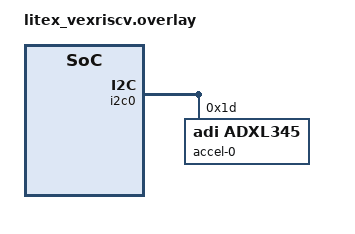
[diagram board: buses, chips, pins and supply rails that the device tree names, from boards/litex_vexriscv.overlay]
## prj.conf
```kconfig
# Copyright 2020 The TensorFlow Authors. All Rights Reserved.
#
# Licensed under the Apache License, Version 2.0 (the "License");
# you may not use this file except in compliance with the License.
# You may obtain a copy of the License at
#
#     http://www.apache.org/licenses/LICENSE-2.0
#
# Unless required by applicable law or agreed to in writing, software
# distributed under the License is distributed on an "AS IS" BASIS,
# WITHOUT WARRANTIES OR CONDITIONS OF ANY KIND, either express or implied.
# See the License for the specific language governing permissions and
# limitations under the License.
# ==============================================================================
CONFIG_CPLUSPLUS=y
CONFIG_NEWLIB_LIBC=y
CONFIG_SENSOR=y
CONFIG_ADXL345=y
CONFIG_PWM=n
CONFIG_PWM_LITEX=n
CONFIG_NETWORKING=n
CONFIG_MAIN_STACK_SIZE=4096
```

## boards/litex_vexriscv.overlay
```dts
/* Copyright 2019 The TensorFlow Authors. All Rights Reserved.

Licensed under the Apache License, Version 2.0 (the "License");
you may not use this file except in compliance with the License.
You may obtain a copy of the License at

    http://www.apache.org/licenses/LICENSE-2.0

Unless required by applicable law or agreed to in writing, software
distributed under the License is distributed on an "AS IS" BASIS,
WITHOUT WARRANTIES OR CONDITIONS OF ANY KIND, either express or implied.
See the License for the specific language governing permissions and
limitations under the License.
==============================================================================*/

&i2c0 {
	label = "I2C0";
	reg = <0xe0003000 0x4 0xe0003004 0x4>;

	adxl@1d {
		compatible = "adi,adxl345";
		label = "accel-0";
		reg = <0x1d>;
	};

};

&pwm0 {
	status = "disabled";
};

&eth0 {
	status = "disabled";
};

&prbs0 {
	status = "disabled";
};
```

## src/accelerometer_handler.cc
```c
/* Copyright 2019 The TensorFlow Authors. All Rights Reserved.

Licensed under the Apache License, Version 2.0 (the "License");
you may not use this file except in compliance with the License.
You may obtain a copy of the License at

    http://www.apache.org/licenses/LICENSE-2.0

Unless required by applicable law or agreed to in writing, software
distributed under the License is distributed on an "AS IS" BASIS,
WITHOUT WARRANTIES OR CONDITIONS OF ANY KIND, either express or implied.
See the License for the specific language governing permissions and
limitations under the License.
==============================================================================*/

#include "tensorflow/lite/micro/examples/magic_wand/accelerometer_handler.h"

#include <device.h>
#include <drivers/sensor.h>
#include <stdio.h>
#include <string.h>
#include <zephyr.h>

#define BUFLEN 300
int begin_index = 0;
struct device* sensor = NULL;
int current_index = 0;

float bufx[BUFLEN] = {0.0f};
float bufy[BUFLEN] = {0.0f};
float bufz[BUFLEN] = {0.0f};

bool initial = true;

TfLiteStatus SetupAccelerometer(tflite::ErrorReporter* error_reporter) {
  sensor = device_get_binding(DT_INST_0_ADI_ADXL345_LABEL);
  if (sensor == NULL) {
    TF_LITE_REPORT_ERROR(error_reporter,
                         "Failed to get accelerometer, label: %s\n",
                         DT_INST_0_ADI_ADXL345_LABEL);
  } else {
    TF_LITE_REPORT_ERROR(error_reporter, "Got accelerometer, label: %s\n",
                         DT_INST_0_ADI_ADXL345_LABEL);
  }
  return kTfLiteOk;
}

bool ReadAccelerometer(tflite::ErrorReporter* error_reporter, float* input,
                       int length) {
  int rc;
  struct sensor_value accel[3];
  int samples_count;

  rc = sensor_sample_fetch(sensor);
  if (rc < 0) {
    TF_LITE_REPORT_ERROR(error_reporter, "Fetch failed\n");
    return false;
  }
  // skip if there is no data
  if (!rc) {
    return false;
  }

  samples_count = rc;
  for (int i = 0; i < samples_count; i++) {
    rc = sensor_channel_get(sensor, SENSOR_CHAN_ACCEL_XYZ, accel);
    if (rc < 0) {
      TF_LITE_REPORT_ERROR(error_reporter, "ERROR: Update failed: %d\n", rc);
      return false;
    }
    bufx[begin_index] = (float)sensor_value_to_double(&accel[0]);
    bufy[begin_index] = (float)sensor_value_to_double(&accel[1]);
    bufz[begin_index] = (float)sensor_value_to_double(&accel[2]);
    begin_index++;
    if (begin_index >= BUFLEN) begin_index = 0;
  }

  if (initial && begin_index >= 100) {
    initial = false;
  }

  if (initial) {
    return false;
  }

  int sample = 0;
  for (int i = 0; i < (length - 3); i += 3) {
    int ring_index = begin_index + sample - length / 3;
    if (ring_index < 0) {
      ring_index += BUFLEN;
    }
    input[i] = bufx[ring_index];
    input[i + 1] = bufy[ring_index];
    input[i + 2] = bufz[ring_index];
    sample++;
  }
  return true;
}
```

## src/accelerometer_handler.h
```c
/* Copyright 2019 The TensorFlow Authors. All Rights Reserved.

Licensed under the Apache License, Version 2.0 (the "License");
you may not use this file except in compliance with the License.
You may obtain a copy of the License at

    http://www.apache.org/licenses/LICENSE-2.0

Unless required by applicable law or agreed to in writing, software
distributed under the License is distributed on an "AS IS" BASIS,
WITHOUT WARRANTIES OR CONDITIONS OF ANY KIND, either express or implied.
See the License for the specific language governing permissions and
limitations under the License.
==============================================================================*/

#ifndef TENSORFLOW_LITE_MICRO_EXAMPLES_MAGIC_WAND_ACCELEROMETER_HANDLER_H_
#define TENSORFLOW_LITE_MICRO_EXAMPLES_MAGIC_WAND_ACCELEROMETER_HANDLER_H_

#define kChannelNumber 3

#include "tensorflow/lite/c/c_api_internal.h"
#include "tensorflow/lite/micro/micro_error_reporter.h"

extern int begin_index;
extern TfLiteStatus SetupAccelerometer(tflite::ErrorReporter* error_reporter);
extern bool ReadAccelerometer(tflite::ErrorReporter* error_reporter,
                              float* input, int length, bool reset_buffer);

#endif  // TENSORFLOW_LITE_MICRO_EXAMPLES_MAGIC_WAND_ACCELEROMETER_HANDLER_H_
```

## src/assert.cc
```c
/* Copyright 2019 The TensorFlow Authors. All Rights Reserved.

Licensed under the Apache License, Version 2.0 (the "License");
you may not use this file except in compliance with the License.
You may obtain a copy of the License at

    http://www.apache.org/licenses/LICENSE-2.0

Unless required by applicable law or agreed to in writing, software
distributed under the License is distributed on an "AS IS" BASIS,
WITHOUT WARRANTIES OR CONDITIONS OF ANY KIND, either express or implied.
See the License for the specific language governing permissions and
limitations under the License.
==============================================================================*/

extern "C" {

void __assert_func(const char*, int, const char*, const char*) {}
}
```

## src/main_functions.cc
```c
/* Copyright 2019 The TensorFlow Authors. All Rights Reserved.

Licensed under the Apache License, Version 2.0 (the "License");
you may not use this file except in compliance with the License.
You may obtain a copy of the License at

    http://www.apache.org/licenses/LICENSE-2.0

Unless required by applicable law or agreed to in writing, software
distributed under the License is distributed on an "AS IS" BASIS,
WITHOUT WARRANTIES OR CONDITIONS OF ANY KIND, either express or implied.
See the License for the specific language governing permissions and
limitations under the License.
==============================================================================*/

#include "tensorflow/lite/micro/examples/magic_wand/main_functions.h"

#include "tensorflow/lite/micro/examples/magic_wand/accelerometer_handler.h"
#include "tensorflow/lite/micro/examples/magic_wand/constants.h"
#include "tensorflow/lite/micro/examples/magic_wand/gesture_predictor.h"
#include "tensorflow/lite/micro/examples/magic_wand/magic_wand_model_data.h"
#include "tensorflow/lite/micro/examples/magic_wand/output_handler.h"
#include "tensorflow/lite/micro/micro_error_reporter.h"
#include "tensorflow/lite/micro/micro_interpreter.h"
#include "tensorflow/lite/micro/micro_mutable_op_resolver.h"
#include "tensorflow/lite/schema/schema_generated.h"
#include "tensorflow/lite/version.h"

// #define ZEPHYR_RISCV_PROFILE

// Globals, used for compatibility with Arduino-style sketches.
namespace {
tflite::ErrorReporter* error_reporter = nullptr;
const tflite::Model* model = nullptr;
tflite::MicroInterpreter* interpreter = nullptr;
TfLiteTensor* model_input = nullptr;
int input_length;

// Create an area of memory to use for input, output, and intermediate arrays.
// The size of this will depend on the model you're using, and may need to be
// determined by experimentation.
constexpr int kTensorArenaSize = 60 * 1024;
uint8_t tensor_arena[kTensorArenaSize];
}  // namespace

// The name of this function is important for Arduino compatibility.
void setup() {
  // Set up logging. Google style is to avoid globals or statics because of
  // lifetime uncertainty, but since this has a trivial destructor it's okay.
  static tflite::MicroErrorReporter micro_error_reporter;  // NOLINT
  error_reporter = &micro_error_reporter;

  // Map the model into a usable data structure. This doesn't involve any
  // copying or parsing, it's a very lightweight operation.
  model = tflite::GetModel(g_magic_wand_model_data);
  if (model->version() != TFLITE_SCHEMA_VERSION) {
    TF_LITE_REPORT_ERROR(error_reporter,
                         "Model provided is schema version %d not equal "
                         "to supported version %d.",
                         model->version(), TFLITE_SCHEMA_VERSION);
    return;
  }

  // Pull in only the operation implementations we need.
  // This relies on a complete list of all the ops needed by this graph.
  // An easier approach is to just use the AllOpsResolver, but this will
  // incur some penalty in code space for op implementations that are not
  // needed by this graph.
  static tflite::MicroMutableOpResolver<8> micro_op_resolver;  // NOLINT
  micro_op_resolver.AddConv2D();
  micro_op_resolver.AddDepthwiseConv2D();
  micro_op_resolver.AddFullyConnected();
  micro_op_resolver.AddMaxPool2D();
  micro_op_resolver.AddSoftmax();

  // For fully quantized models
  micro_op_resolver.AddDequantize();
  micro_op_resolver.AddQuantize();
  micro_op_resolver.AddReshape();

  // Build an interpreter to run the model with.
  static tflite::MicroInterpreter static_interpreter(
      model, micro_op_resolver, tensor_arena, kTensorArenaSize, error_reporter);
  interpreter = &static_interpreter;

  // Allocate memory from the tensor_arena for the model's tensors.
  interpreter->AllocateTensors();

  // Obtain pointer to the model's input tensor.
  model_input = interpreter->input(0);
  if ((model_input->dims->size != 4) || (model_input->dims->data[0] != 1) ||
      (model_input->dims->data[1] != 128) ||
      (model_input->dims->data[2] != kChannelNumber) ||
      (model_input->type != kTfLiteFloat32)) {
    TF_LITE_REPORT_ERROR(error_reporter,
                         "Bad input tensor parameters in model");
    return;
  }

  input_length = model_input->bytes / sizeof(float);

  TfLiteStatus setup_status = SetupAccelerometer(error_reporter);
  if (setup_status != kTfLiteOk) {
    TF_LITE_REPORT_ERROR(error_reporter, "Set up failed\n");
  }
}

void loop() {
#ifdef ZEPHYR_RISCV_PROFILE
  unsigned int cycle = 0;
  static unsigned int count = 0;
  static const unsigned int CLEAR = 0;

  // Reset cycle count for ReadAccelerometer()
  __asm__ __volatile__("csrw mcycle, %0" : : "r"(CLEAR));
#endif /* ZEPHYR_RISCV_PROFILE */

  // Attempt to read new data from the accelerometer.
  bool got_data =
      ReadAccelerometer(error_reporter, model_input->data.f, input_length);

#ifdef ZEPHYR_RISCV_PROFILE
  __asm__ __volatile__("csrr %0, mcycle" : "=r"(cycle));
  // Accumulate cycle count till enough data is collected
  count += cycle;
#endif /* ZEPHYR_RISCV_PROFILE */

  // If there was no new data, wait until next time.
  if (!got_data) return;

#ifdef ZEPHYR_RISCV_PROFILE
  TF_LITE_REPORT_ERROR(error_reporter,
                       "[ZEPHYR_RISCV_PROFILE] Before Invoke(): %d cycles\n",
                       count);

  // Reset cycle count for Invoke()
  __asm__ __volatile__("csrw mcycle, %0" : : "r"(CLEAR));
#endif /* ZEPHYR_RISCV_PROFILE */

  // Run inference, and report any error.
  TfLiteStatus invoke_status = interpreter->Invoke();

  if (invoke_status != kTfLiteOk) {
    TF_LITE_REPORT_ERROR(error_reporter, "Invoke failed on index: %d\n",
                         begin_index);
    return;
  }

#ifdef ZEPHYR_RISCV_PROFILE
  __asm__ __volatile__("csrr %0, mcycle" : "=r"(cycle));
  TF_LITE_REPORT_ERROR(error_reporter,
                       "[ZEPHYR_RISCV_PROFILE] Invoke(): %d cycles\n",
                       (int)cycle);

  // Reset cycle count for PredictGesture()
  __asm__ __volatile__("csrw mcycle, %0" : : "r"(CLEAR));
#endif /* ZEPHYR_RISCV_PROFILE */

  // Analyze the results to obtain a prediction
  int gesture_index = PredictGesture(interpreter->output(0)->data.f);

#ifdef ZEPHYR_RISCV_PROFILE
  __asm__ __volatile__("csrr %0, mcycle" : "=r"(cycle));
  TF_LITE_REPORT_ERROR(error_reporter,
                       "[ZEPHYR_RISCV_PROFILE] PredictGesture(): %d cycles\n",
                       (int)cycle);

  // Reset cycle count for HandleOutput()
  __asm__ __volatile__("csrw mcycle, %0" : : "r"(CLEAR));
#endif /* ZEPHYR_RISCV_PROFILE */

  // Produce an output
  HandleOutput(error_reporter, gesture_index);

#ifdef ZEPHYR_RISCV_PROFILE
  __asm__ __volatile__("csrr %0, mcycle" : "=r"(cycle));
  TF_LITE_REPORT_ERROR(error_reporter,
                       "[ZEPHYR_RISCV_PROFILE] HandleOutput(): %d cycles\n",
                       (int)cycle);
#endif /* ZEPHYR_RISCV_PROFILE */
}
```
